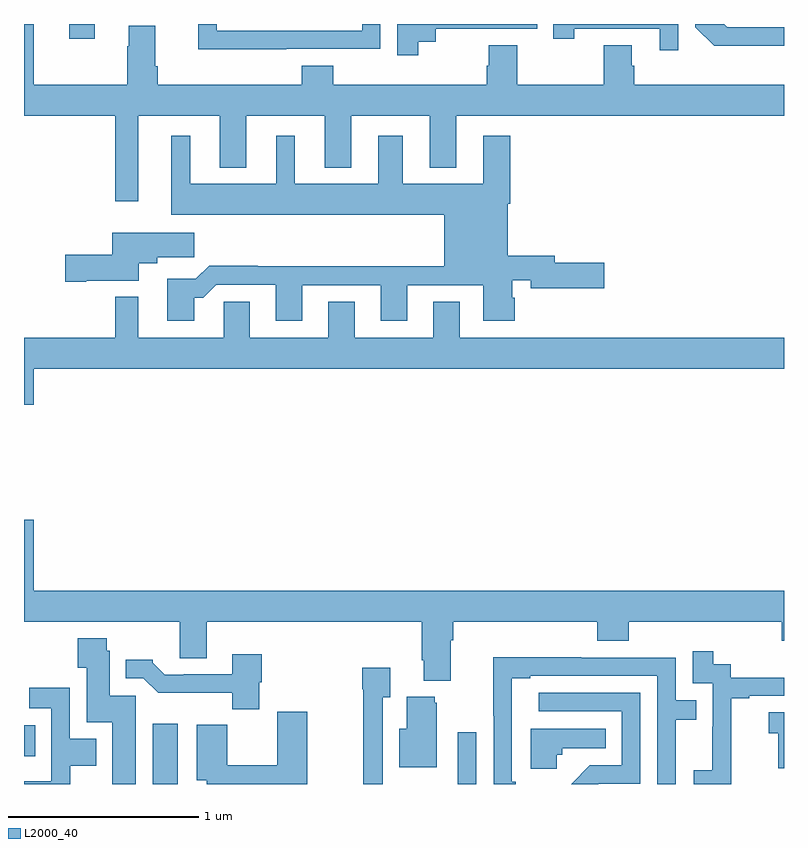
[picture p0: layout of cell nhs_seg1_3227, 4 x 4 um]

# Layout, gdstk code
import gdstk
lib = gdstk.Library(unit=1e-6, precision=1e-09)
def R(c, l, rs):  # rectangles x0, y0, x1, y1
    for r in rs: c.add(gdstk.rectangle(r[:2], r[2:], *l))
def P(c, l, *ps):  # polygons
    for p in ps: c.add(gdstk.Polygon(p, *l))
L2000_40 = (2000, 40)

nhs_seg1_3227 = lib.new_cell('nhs_seg1_3227')
R(nhs_seg1_3227, L2000_40, [(285.677,564.199,285.808,564.517), (287.283,564.199,287.379,564.472), (285,564.344,285.059,564.508), (285.237,568.122,285.373,568.199)])
P(nhs_seg1_3227, L2000_40, [(286.379,568.068),(286.875,568.068),(286.875,568.199),(286.779,568.199),(286.779,568.164),(286.014,568.164),(286.014,568.199),(285.916,568.199),(285.916,568.067),(286.379,568.067)],
  [(285.601,567.716),(286.031,567.716),(286.031,567.443),(286.171,567.443),(286.171,567.716),(286.583,567.716),(286.583,567.443),(286.723,567.443),(286.723,567.716),(287.135,567.716),(287.135,567.443),(287.275,567.443),(287.275,567.716),(289,567.716),(289,567.88),(288.212,567.88),(288.212,567.978),(288.199,567.978),(288.199,568.088),(288.052,568.088),(288.052,567.88),(287.595,567.88),(287.595,568.088),(287.447,568.088),(287.447,567.978),(287.435,567.978),(287.435,567.88),(286.628,567.88),(286.628,567.979),(286.463,567.979),(286.463,567.88),(285.704,567.88),(285.704,567.976),(285.691,567.976),(285.691,568.189),(285.551,568.189),(285.551,568.082),(285.544,568.082),(285.544,567.88),(285.052,567.88),(285.052,568.199),(285,568.199),(285,567.716),(285.48,567.716),(285.48,567.267),(285.601,567.267)],
  [(287.074,568.105),(287.166,568.105),(287.166,568.173),(287.7,568.173),(287.7,568.199),(286.965,568.199),(286.965,568.035),(287.074,568.035)],
  [(289,568.182),(288.702,568.182),(288.685,568.199),(288.534,568.199),(288.534,568.182),(288.632,568.085),(289,568.085)],
  [(288.444,568.199),(287.785,568.199),(287.785,568.122),(287.896,568.122),(287.896,568.173),(288.347,568.173),(288.347,568.062),(288.444,568.062)],
  [(285.895,566.759),(285.944,566.759),(286.011,566.826),(286.325,566.826),(286.325,566.637),(286.465,566.637),(286.465,566.823),(286.877,566.823),(286.877,566.637),(287.017,566.637),(287.017,566.823),(287.417,566.823),(287.417,566.637),(287.582,566.637),(287.582,566.757),(287.569,566.757),(287.569,566.85),(287.666,566.85),(287.666,566.807),(288.055,566.807),(288.055,566.942),(287.794,566.942),(287.794,566.978),(287.545,566.978),(287.545,567.254),(287.558,567.254),(287.558,567.61),(287.417,567.61),(287.417,567.358),(286.993,567.358),(286.993,567.61),(286.865,567.61),(286.865,567.358),(286.426,567.358),(286.426,567.61),(286.328,567.61),(286.328,567.358),(285.874,567.358),(285.874,567.61),(285.776,567.61),(285.776,567.194),(287.213,567.194),(287.213,566.924),(286.229,566.924),(286.229,566.927),(285.974,566.927),(285.904,566.857),(285.755,566.857),(285.755,566.637),(285.895,566.637)],
  [(285.328,566.849),(285.604,566.849),(285.604,566.939),(285.7,566.939),(285.7,566.971),(285.895,566.971),(285.895,567.1),(285.464,567.1),(285.464,566.984),(285.216,566.984),(285.216,566.842),(285.328,566.842)],
  [(285.052,566.384),(289,566.384),(289,566.548),(287.293,566.548),(287.293,566.738),(287.153,566.738),(287.153,566.548),(286.741,566.548),(286.741,566.738),(286.601,566.738),(286.601,566.548),(286.189,566.548),(286.189,566.738),(286.05,566.738),(286.05,566.548),(285.601,566.548),(285.601,566.764),(285.48,566.764),(285.48,566.548),(285,566.548),(285,566.196),(285.052,566.196)],
  [(287.245,564.956),(287.258,564.956),(287.258,565.052),(288.017,565.052),(288.017,564.953),(288.182,564.953),(288.182,565.052),(288.989,565.052),(288.989,564.954),(289,564.954),(289,565.216),(285.052,565.216),(285.052,565.591),(285,565.591),(285,565.052),(285.821,565.052),(285.821,564.862),(285.961,564.862),(285.961,565.052),(287.093,565.052),(287.093,564.85),(287.105,564.85),(287.105,564.743),(287.245,564.743)],
  [(285.589,564.663),(285.451,564.663),(285.451,564.9),(285.435,564.9),(285.435,564.967),(285.283,564.967),(285.283,564.811),(285.329,564.811),(285.329,564.524),(285.464,564.524),(285.464,564.199),(285.589,564.199)],
  [(288.723,564.367),(288.722,564.367),(288.722,564.651),(288.817,564.651),(288.817,564.663),(289,564.663),(289,564.759),(288.72,564.759),(288.72,564.828),(288.628,564.828),(288.628,564.898),(288.519,564.898),(288.519,564.729),(288.624,564.729),(288.624,564.5),(288.623,564.5),(288.623,564.271),(288.525,564.271),(288.525,564.199),(288.723,564.199)],
  [(286.237,564.735),(286.25,564.735),(286.25,564.883),(286.097,564.883),(286.097,564.777),(285.841,564.777),(285.841,564.774),(285.742,564.774),(285.678,564.838),(285.678,564.853),(285.536,564.853),(285.536,564.756),(285.627,564.756),(285.706,564.678),(286.095,564.678),(286.095,564.593),(286.237,564.593)],
  [(287.587,564.21),(287.568,564.21),(287.568,564.756),(287.665,564.756),(287.665,564.768),(288.333,564.768),(288.333,564.199),(288.429,564.199),(288.429,564.538),(288.539,564.538),(288.539,564.639),(288.429,564.639),(288.429,564.864),(287.933,564.864),(287.933,564.866),(287.47,564.866),(287.47,564.559),(287.472,564.559),(287.472,564.199),(287.587,564.199)],
  [(286.887,564.655),(286.927,564.655),(286.927,564.811),(286.779,564.811),(286.779,564.698),(286.786,564.698),(286.786,564.199),(286.887,564.199)],
  [(285.243,564.296),(285.379,564.296),(285.379,564.436),(285.24,564.436),(285.24,564.706),(285.027,564.706),(285.027,564.597),(285.144,564.597),(285.144,564.214),(285,564.214),(285,564.199),(285.243,564.199)],
  [(288.024,564.201),(288.243,564.201),(288.243,564.678),(287.709,564.678),(287.709,564.582),(288.147,564.582),(288.147,564.297),(287.978,564.297),(287.88,564.199),(288.022,564.199)],
  [(287.173,564.627),(287.162,564.627),(287.162,564.658),(287.015,564.658),(287.015,564.49),(286.976,564.49),(286.976,564.287),(287.173,564.287)],
  [(286.492,564.58),(286.334,564.58),(286.334,564.299),(286.07,564.299),(286.07,564.511),(285.908,564.511),(285.908,564.218),(285.963,564.218),(285.963,564.199),(286.492,564.199)],
  [(289,564.577),(288.921,564.577),(288.921,564.467),(288.97,564.467),(288.97,564.282),(289,564.282)],
  [(287.805,564.354),(287.832,564.354),(287.832,564.386),(288.062,564.386),(288.062,564.49),(287.666,564.49),(287.666,564.278),(287.805,564.278)])

lib.write_gds('nhs_seg1_3227.gds')
